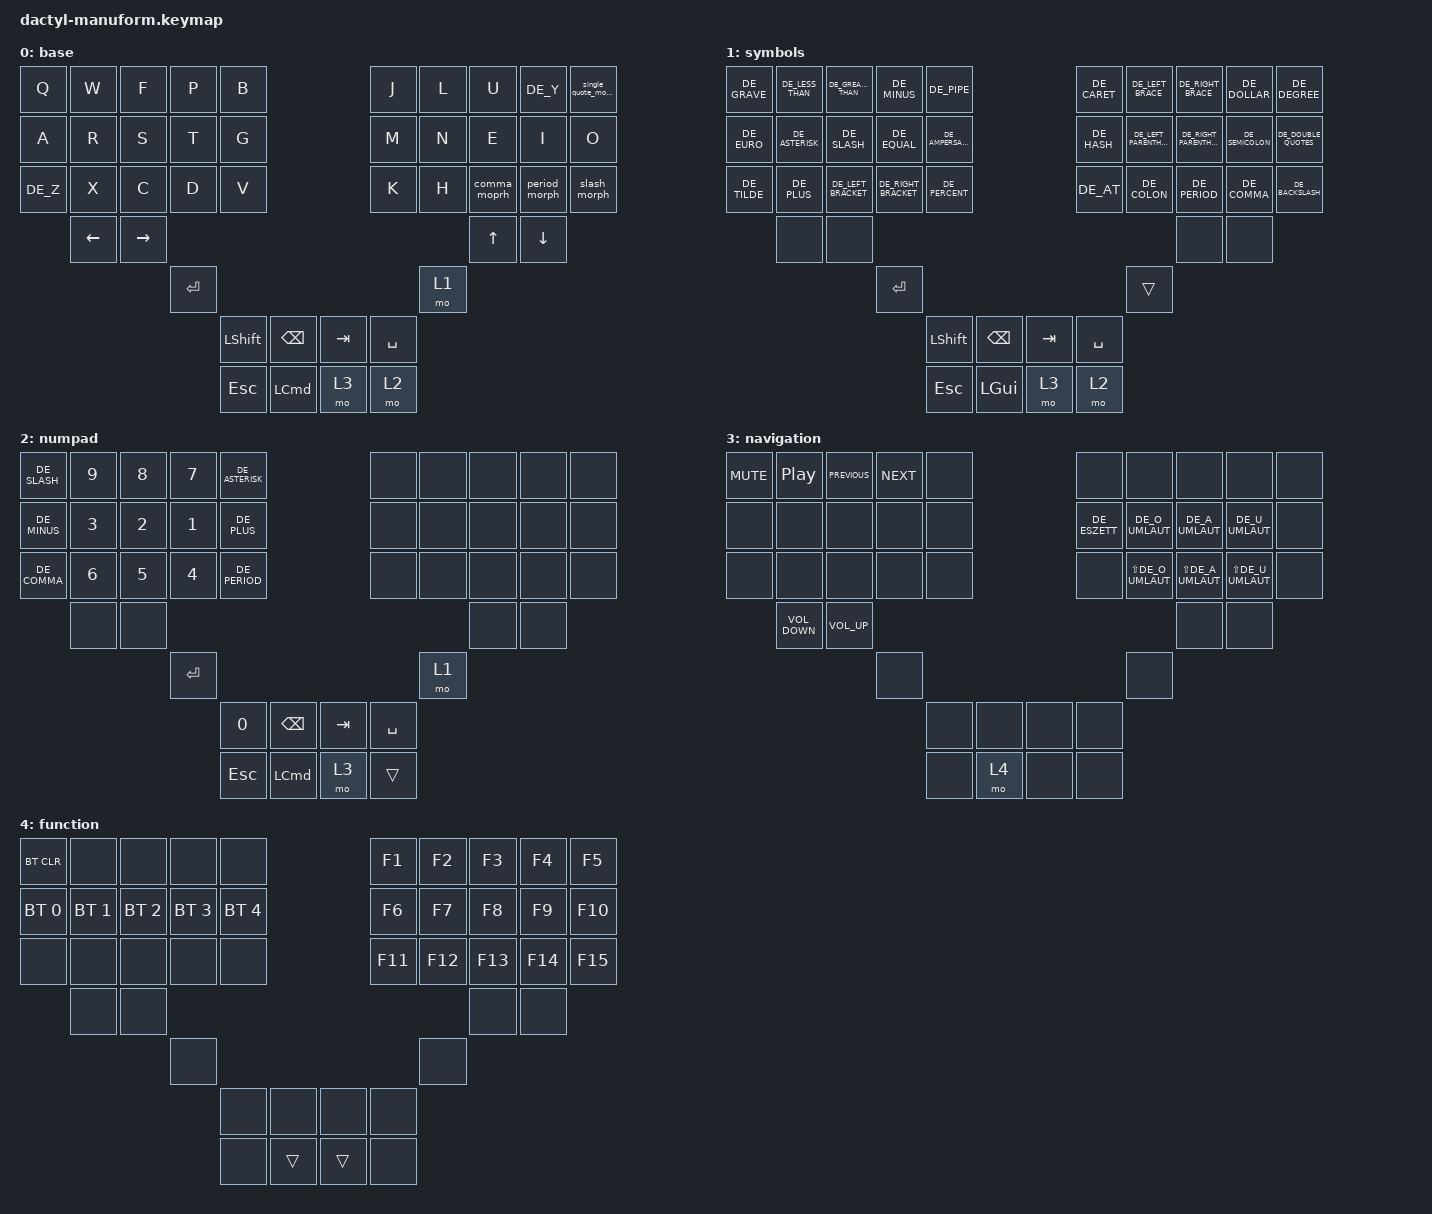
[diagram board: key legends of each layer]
#include "keys_de.h"
#include <behaviors.dtsi>
#include <dt-bindings/zmk/bt.h>
#include <dt-bindings/zmk/keys.h>

#define DEFAULT 0

/ {
    combos {
        compatible = "zmk,combos";

        combo_copy {
            bindings = <&kp LC(C)>;
            key-positions = <21 22>;
            layers = <0>;
            timeout-ms = <40>;
            slow-release;
            require-prior-idle-ms = <100>;
        };

        combo_paste {
            bindings = <&kp LC(V)>;
            key-positions = <22 23>;
            layers = <0>;
            timeout-ms = <40>;
        };

        combo_cut {
            bindings = <&kp LC(X)>;
            key-positions = <21 23>;
            layers = <0>;
            timeout-ms = <40>;
        };

        combo_save {
            bindings = <&kp LC(S)>;
            key-positions = <12 11>;
            layers = <0>;
            timeout-ms = <40>;
        };

        combo_undo {
            bindings = <&kp LC(DE_Z)>;
            key-positions = <11 10>;
            layers = <0>;
            timeout-ms = <40>;
        };

        combo_find {
            bindings = <&kp LC(F)>;
            key-positions = <12 13>;
            timeout-ms = <40>;
            layers = <0>;
        };

        combo_quit {
            bindings = <&kp LC(Q)>;
            key-positions = <1 0>;
            timeout-ms = <40>;
            layers = <0>;
        };

        combo_caps_word {
            bindings = <&caps_word>;
            key-positions = <13 16>;
            timeout-ms = <40>;
            layers = <0>;
        };

        combo_del {
            bindings = <&kp DELETE>;
            key-positions = <26 27>;
            timeout-ms = <40>;
            layers = <0>;
        };

        combo_ctrl_l {
            bindings = <&kp LC(L)>;
            key-positions = <17 28>;
            timeout-ms = <40>;
            layers = <0>;
        };

        combo_close_tab {
            bindings = <&kp LC(W)>;
            key-positions = <1 2>;
        };

        combo_select_all {
            bindings = <&kp LC(A)>;
            key-positions = <11 13>;
        };

        combo_greeting {
            bindings = <&greeting>;
            key-positions = <7 8 9>;
        };
    };

    behaviors {
        caps_word: caps_word {
            compatible = "zmk,behavior-caps-word";
            label = "CAPS_WORD";
            #binding-cells = <0>;
            continue-list = <UNDERSCORE MINUS BACKSPACE>;
        };

        slash_morph: slash_morph {
            compatible = "zmk,behavior-mod-morph";
            label = "SLASH_MORPH";
            bindings = <&kp DE_SLASH>, <&kp DE_UNDER>;

            #binding-cells = <0>;
            mods = <(MOD_LSFT)>;
        };

        comma_moprh: comma_moprh {
            compatible = "zmk,behavior-mod-morph";
            label = "COMMA_MOPRH";
            bindings = <&kp COMMA>, <&kp DE_QUESTION>;

            #binding-cells = <0>;
            mods = <(MOD_LSFT)>;
        };

        period_morph: period_morph {
            compatible = "zmk,behavior-mod-morph";
            label = "PERIOD_MORPH";
            bindings = <&kp PERIOD>, <&kp DE_EXCLAMATION>;

            #binding-cells = <0>;
            mods = <(MOD_LSFT)>;
        };

        single_quote_morph: single_quote_morph {
            compatible = "zmk,behavior-mod-morph";
            label = "SINGLE_QUOTE_MORPH";
            bindings = <&kp DE_SINGLE_QUOTE>, <&kp DE_DOUBLE_QUOTES>;

            #binding-cells = <0>;
            mods = <(MOD_LSFT)>;
        };
    };

    macros {
        greeting: greeting {
            compatible = "zmk,behavior-macro";
            #binding-cells = <0>;
            bindings = <&kp ENTER &kp DE_SLASH &kp P &kp SPACE &kp DE_Y &kp O &kp DE_Y &kp O &kp DE_Y &kp O &kp ENTER>;
            label = "GREETING";
        };
    };

    keymap {
        compatible = "zmk,keymap";

        base {
            bindings = <
&kp Q     &kp W           &kp F            &kp P      &kp B                                      &kp J      &kp L  &kp U         &kp DE_Y        &single_quote_morph
&kp A     &kp R           &kp S            &kp T      &kp G                                      &kp M      &kp N  &kp E         &kp I           &kp O
&kp DE_Z  &kp X           &kp C            &kp D      &kp V                                      &kp K      &kp H  &comma_moprh  &period_morph   &slash_morph
          &kp LEFT_ARROW  &kp RIGHT_ARROW                                                                          &kp UP_ARROW  &kp DOWN_ARROW
                                           &kp ENTER                                                        &mo 1
                                                      &kp LEFT_SHIFT  &kp BACKSPACE     &kp TAB  &kp SPACE
                                                      &kp ESCAPE      &kp LEFT_COMMAND  &mo 3    &mo 2
            >;
        };

        symbols {
            bindings = <
&kp DE_GRAVE  &kp DE_LESS_THAN  &kp DE_GREATER_THAN  &kp DE_MINUS          &kp DE_PIPE                               &kp DE_CARET  &kp DE_LEFT_BRACE        &kp DE_RIGHT_BRACE        &kp DE_DOLLAR     &kp DE_DEGREE
&kp DE_EURO   &kp DE_ASTERISK   &kp DE_SLASH         &kp DE_EQUAL          &kp DE_AMPERSAND                          &kp DE_HASH   &kp DE_LEFT_PARENTHESIS  &kp DE_RIGHT_PARENTHESIS  &kp DE_SEMICOLON  &kp DE_DOUBLE_QUOTES
&kp DE_TILDE  &kp DE_PLUS       &kp DE_LEFT_BRACKET  &kp DE_RIGHT_BRACKET  &kp DE_PERCENT                            &kp DE_AT     &kp DE_COLON             &kp DE_PERIOD             &kp DE_COMMA      &kp DE_BACKSLASH
              &none             &none                                                                                                                       &none                     &none
                                                     &kp ENTER                                                                     &trans
                                                                           &kp LEFT_SHIFT    &kp BACKSPACE  &kp TAB  &kp SPACE
                                                                           &kp ESCAPE        &kp LEFT_GUI   &mo 3    &mo 2
            >;
        };

        numpad {
            bindings = <
&kp DE_SLASH  &kp N9  &kp N8  &kp N7     &kp DE_ASTERISK                             &none      &none  &none  &none  &none
&kp DE_MINUS  &kp N3  &kp N2  &kp N1     &kp DE_PLUS                                 &none      &none  &none  &none  &none
&kp DE_COMMA  &kp N6  &kp N5  &kp N4     &kp DE_PERIOD                               &none      &none  &none  &none  &none
              &none   &none                                                                            &none  &none
                              &kp ENTER                                                         &mo 1
                                         &kp NUMBER_0     &kp BACKSPACE     &kp TAB  &kp SPACE
                                         &kp ESCAPE       &kp LEFT_COMMAND  &mo 3    &trans
            >;
        };

        navigation {
            bindings = <
&kp K_MUTE  &kp C_PLAY_PAUSE   &kp C_PREVIOUS   &kp C_NEXT  &none                &none          &none                &none                &none                &none
&none       &none              &none            &none       &none                &kp DE_ESZETT  &kp DE_O_UMLAUT      &kp DE_A_UMLAUT      &kp DE_U_UMLAUT      &none
&none       &none              &none            &none       &none                &none          &kp LS(DE_O_UMLAUT)  &kp LS(DE_A_UMLAUT)  &kp LS(DE_U_UMLAUT)  &none
            &kp C_VOLUME_DOWN  &kp C_VOLUME_UP                                                                       &none                &none
                                                &none                                           &none
                                                            &none  &none  &none  &none
                                                            &none  &mo 4  &none  &none
            >;
        };

        function {
            bindings = <
&bt BT_CLR    &none         &none         &none         &none                         &kp F1   &kp F2   &kp F3   &kp F4   &kp F5
&bt BT_SEL 0  &bt BT_SEL 1  &bt BT_SEL 2  &bt BT_SEL 3  &bt BT_SEL 4                  &kp F6   &kp F7   &kp F8   &kp F9   &kp F10
&none         &none         &none         &none         &none                         &kp F11  &kp F12  &kp F13  &kp F14  &kp F15
              &none         &none                                                                       &none    &none
                                          &none                                                &none
                                                        &none         &none   &none   &none
                                                        &none         &trans  &trans  &none
            >;
        };
    };

    conditional_layers { compatible = "zmk,conditional-layers"; };
};
